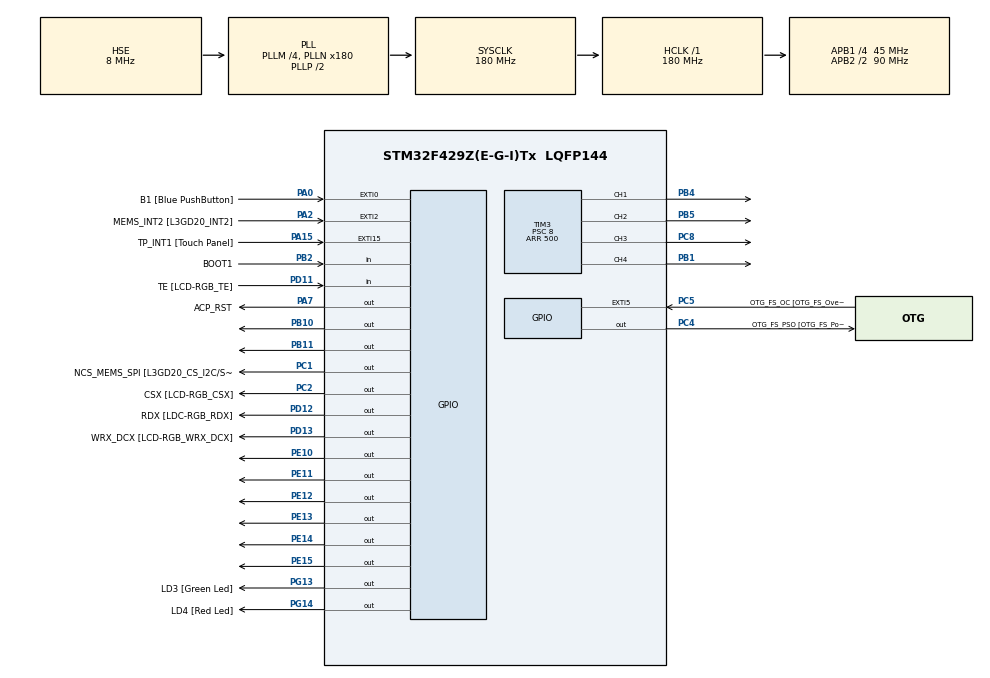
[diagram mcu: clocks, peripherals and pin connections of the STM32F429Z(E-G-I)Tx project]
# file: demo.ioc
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Mcu.Family=STM32F4
Mcu.Name=STM32F429Z(E-G-I)Tx
Mcu.Package=LQFP144
NVIC.PriorityGroup=NVIC_PRIORITYGROUP_0
PA0/WKUP.GPIO_Label=B1 [Blue PushButton]
PA0/WKUP.GPIO_ModeDefaultEXTI=GPIO_MODE_EVT_RISING
PA0/WKUP.GPIO_PuPd=GPIO_NOPULL
PA0/WKUP.Signal=GPXTI0
PA1.Signal=S_TIM2_CH2
PA10.GPIO_Label=STLINK_TX [STM32F103CBT6_PA2]
PA10.Signal=USART1_RX
PA11.GPIO_Label=R4
PA11.GPIO_Mode=GPIO_MODE_AF_PP
PA11.GPIO_PuPd=GPIO_NOPULL
PA11.GPIO_Speed=GPIO_SPEED_FREQ_LOW
PA11.Signal=LTDC_R4
PA12.GPIO_Label=R5
PA12.GPIO_Mode=GPIO_MODE_AF_PP
PA12.GPIO_PuPd=GPIO_NOPULL
PA12.GPIO_Speed=GPIO_SPEED_FREQ_LOW
PA12.Signal=LTDC_R5
PA13.GPIO_Label=SWDIO
PA13.Signal=SYS_JTMS-SWDIO
PA14.GPIO_Label=SWCLK
PA14.Signal=SYS_JTCK-SWCLK
PA15.GPIO_Label=TP_INT1 [Touch Panel]
PA15.GPIO_ModeDefaultEXTI=GPIO_MODE_EVT_RISING
PA15.GPIO_PuPd=GPIO_NOPULL
PA15.Signal=GPXTI15
PA2.GPIO_Label=MEMS_INT2 [L3GD20_INT2]
PA2.GPIO_ModeDefaultEXTI=GPIO_MODE_EVT_RISING
PA2.GPIO_PuPd=GPIO_NOPULL
PA2.Signal=GPXTI2
PA3.GPIO_Label=B5
PA3.GPIO_Mode=GPIO_MODE_AF_PP
PA3.GPIO_PuPd=GPIO_NOPULL
PA3.GPIO_Speed=GPIO_SPEED_FREQ_LOW
PA3.Signal=LTDC_B5
PA4.GPIO_Label=VSYNC
PA4.GPIO_Mode=GPIO_MODE_AF_PP
PA4.GPIO_PuPd=GPIO_NOPULL
PA4.GPIO_Speed=GPIO_SPEED_FREQ_LOW
PA4.Signal=LTDC_VSYNC
PA6.GPIO_Label=G2
PA6.GPIO_Mode=GPIO_MODE_AF_PP
PA6.GPIO_PuPd=GPIO_NOPULL
PA6.GPIO_Speed=GPIO_SPEED_FREQ_LOW
PA6.Signal=LTDC_G2
PA7.GPIO_Label=ACP_RST
PA7.GPIO_Mode=GPIO_MODE_OUTPUT_PP
PA7.GPIO_PuPd=GPIO_NOPULL
PA7.GPIO_Speed=GPIO_SPEED_FREQ_LOW
PA7.Signal=GPIO_Output
PA8.GPIO_Label=I2C3_SCL [ACP/RF_SCL]
PA8.GPIO_Mode=GPIO_MODE_AF_OD
PA8.GPIO_PuPd=GPIO_NOPULL
PA8.GPIO_Speed=GPIO_SPEED_FREQ_LOW
PA8.Signal=I2C3_SCL
PA9.GPIO_Label=STLINK_RX [STM32F103CBT6_PA3]
PA9.Signal=USART1_TX
PB0.GPIO_Label=R3
PB0.GPIO_Mode=GPIO_MODE_AF_PP
PB0.GPIO_PuPd=GPIO_NOPULL
PB0.GPIO_Speed=GPIO_SPEED_FREQ_LOW
PB0.Signal=LTDC_R3
PB1.Signal=S_TIM3_CH4
PB10.Signal=GPIO_Output
PB11.Signal=GPIO_Output
PB12.GPIO_Label=OTG_FS_ID
PB12.GPIO_Mode=GPIO_MODE_AF_PP
PB12.GPIO_PuPd=GPIO_NOPULL
PB12.GPIO_Speed=GPIO_SPEED_FREQ_LOW
PB12.Signal=USB_OTG_HS_ID
PB13.GPIO_Label=VBUS_FS
PB13.GPIO_Mode=GPIO_MODE_INPUT
PB13.GPIO_PuPd=GPIO_NOPULL
PB13.Signal=USB_OTG_HS_VBUS
PB14.GPIO_Label=OTG_FS_DM
PB14.GPIO_Mode=GPIO_MODE_AF_PP
PB14.GPIO_PuPd=GPIO_NOPULL
PB14.GPIO_Speed=GPIO_SPEED_FREQ_LOW
PB14.Signal=USB_OTG_HS_DM
PB15.GPIO_Label=OTG_FS_DP
PB15.GPIO_Mode=GPIO_MODE_AF_PP
PB15.GPIO_PuPd=GPIO_NOPULL
PB15.GPIO_Speed=GPIO_SPEED_FREQ_LOW
PB15.Signal=USB_OTG_HS_DP
PB2/BOOT1.GPIO_Label=BOOT1
PB2/BOOT1.GPIO_Mode=GPIO_MODE_INPUT
PB2/BOOT1.GPIO_PuPd=GPIO_NOPULL
PB2/BOOT1.Signal=GPIO_Input
PB3.Signal=SPI1_SCK
PB4.Signal=S_TIM3_CH1
PB5.Signal=S_TIM3_CH2
PB6.GPIO_Label=SDNE1 [SDRAM_CS]
PB6.GPIO_Mode=GPIO_MODE_AF_PP
PB6.GPIO_PuPd=GPIO_NOPULL
PB6.GPIO_Speed=GPIO_SPEED_FREQ_VERY_HIGH
PB6.Signal=FMC_SDNE1
PB9.GPIO_Label=B7
PB9.GPIO_Mode=GPIO_MODE_AF_PP
PB9.GPIO_PuPd=GPIO_NOPULL
PB9.GPIO_Speed=GPIO_SPEED_FREQ_LOW
PB9.Signal=LTDC_B7
PC0.GPIO_Label=SDNWE
PC0.GPIO_Mode=GPIO_MODE_AF_PP
PC0.GPIO_PuPd=GPIO_NOPULL
PC0.GPIO_Speed=GPIO_SPEED_FREQ_VERY_HIGH
PC0.Signal=FMC_SDNWE
PC1.GPIO_Label=NCS_MEMS_SPI [L3GD20_CS_I2C/SPI]
PC1.GPIO_Mode=GPIO_MODE_OUTPUT_PP
PC1.GPIO_PuPd=GPIO_NOPULL
PC1.GPIO_Speed=GPIO_SPEED_FREQ_LOW
PC1.Signal=GPIO_Output
PC10.GPIO_Label=R2
PC10.GPIO_Mode=GPIO_MODE_AF_PP
PC10.GPIO_PuPd=GPIO_NOPULL
PC10.GPIO_Speed=GPIO_SPEED_FREQ_LOW
PC10.Signal=LTDC_R2
PC14/OSC32_IN.GPIO_Label=PC14-OSC32_IN
PC14/OSC32_IN.Signal=RCC_OSC32_IN
PC15/OSC32_OUT.GPIO_Label=PC15-OSC32_OUT
PC15/OSC32_OUT.Signal=RCC_OSC32_OUT
PC2.GPIO_Label=CSX [LCD-RGB_CSX]
PC2.GPIO_Mode=GPIO_MODE_OUTPUT_PP
PC2.GPIO_PuPd=GPIO_NOPULL
PC2.GPIO_Speed=GPIO_SPEED_FREQ_LOW
PC2.Signal=GPIO_Output
PC4.GPIO_Label=OTG_FS_PSO [OTG_FS_PowerSwitchOn]
PC4.GPIO_Mode=GPIO_MODE_OUTPUT_PP
PC4.GPIO_PuPd=GPIO_NOPULL
PC4.GPIO_Speed=GPIO_SPEED_FREQ_LOW
PC4.Signal=GPIO_Output
PC5.GPIO_Label=OTG_FS_OC [OTG_FS_OverCurrent]
PC5.GPIO_ModeDefaultEXTI=GPIO_MODE_EVT_RISING
PC5.Signal=GPXTI5
PC6.GPIO_Label=HSYNC
PC6.GPIO_Mode=GPIO_MODE_AF_PP
PC6.GPIO_PuPd=GPIO_NOPULL
PC6.GPIO_Speed=GPIO_SPEED_FREQ_LOW
PC6.Signal=LTDC_HSYNC
PC7.GPIO_Label=G6
PC7.GPIO_Mode=GPIO_MODE_AF_PP
PC7.GPIO_PuPd=GPIO_NOPULL
PC7.GPIO_Speed=GPIO_SPEED_FREQ_LOW
PC7.Signal=LTDC_G6
PC8.Signal=S_TIM3_CH3
PC9.Signal=EVENTOUT
PD0.GPIO_Label=D2
PD0.GPIO_Mode=GPIO_MODE_AF_PP
PD0.GPIO_PuPd=GPIO_NOPULL
PD0.GPIO_Speed=GPIO_SPEED_FREQ_VERY_HIGH
PD0.Signal=FMC_D2_DA2
PD1.GPIO_Label=D3
PD1.GPIO_Mode=GPIO_MODE_AF_PP
PD1.GPIO_PuPd=GPIO_NOPULL
PD1.GPIO_Speed=GPIO_SPEED_FREQ_VERY_HIGH
PD1.Signal=FMC_D3_DA3
PD10.GPIO_Label=D15
PD10.GPIO_Mode=GPIO_MODE_AF_PP
PD10.GPIO_PuPd=GPIO_NOPULL
PD10.GPIO_Speed=GPIO_SPEED_FREQ_VERY_HIGH
PD10.Signal=FMC_D15_DA15
PD11.GPIO_Label=TE [LCD-RGB_TE]
PD11.GPIO_Mode=GPIO_MODE_INPUT
PD11.GPIO_PuPd=GPIO_NOPULL
PD11.Signal=GPIO_Input
PD12.GPIO_Label=RDX [LDC-RGB_RDX]
PD12.GPIO_Mode=GPIO_MODE_OUTPUT_PP
PD12.GPIO_PuPd=GPIO_NOPULL
PD12.GPIO_Speed=GPIO_SPEED_FREQ_LOW
PD12.Signal=GPIO_Output
PD13.GPIO_Label=WRX_DCX [LCD-RGB_WRX_DCX]
PD13.GPIO_Mode=GPIO_MODE_OUTPUT_PP
PD13.GPIO_PuPd=GPIO_NOPULL
PD13.GPIO_Speed=GPIO_SPEED_FREQ_LOW
PD13.Signal=GPIO_Output
PD14.GPIO_Label=D0
PD14.GPIO_Mode=GPIO_MODE_AF_PP
PD14.GPIO_PuPd=GPIO_NOPULL
PD14.GPIO_Speed=GPIO_SPEED_FREQ_VERY_HIGH
PD14.Signal=FMC_D0_DA0
PD15.GPIO_Label=D1
PD15.GPIO_Mode=GPIO_MODE_AF_PP
PD15.GPIO_PuPd=GPIO_NOPULL
PD15.GPIO_Speed=GPIO_SPEED_FREQ_VERY_HIGH
PD15.Signal=FMC_D1_DA1
PD3.GPIO_Label=G7
PD3.GPIO_Mode=GPIO_MODE_AF_PP
PD3.GPIO_PuPd=GPIO_NOPULL
PD3.GPIO_Speed=GPIO_SPEED_FREQ_LOW
PD3.Signal=LTDC_G7
PD6.GPIO_Label=B2
PD6.GPIO_Mode=GPIO_MODE_AF_PP
PD6.GPIO_PuPd=GPIO_NOPULL
PD6.GPIO_Speed=GPIO_SPEED_FREQ_LOW
PD6.Signal=LTDC_B2
PD9.GPIO_Label=D14
PD9.GPIO_Mode=GPIO_MODE_AF_PP
PD9.GPIO_PuPd=GPIO_NOPULL
PD9.GPIO_Speed=GPIO_SPEED_FREQ_VERY_HIGH
PD9.Signal=FMC_D14_DA14
PE0.GPIO_Label=NBL0 [SDRAM_LDQM]
PE0.GPIO_Mode=GPIO_MODE_AF_PP
PE0.GPIO_PuPd=GPIO_NOPULL
PE0.GPIO_Speed=GPIO_SPEED_FREQ_VERY_HIGH
PE0.Signal=FMC_NBL0
PE1.GPIO_Label=NBL1 [SDRAM_UDQM]
PE1.GPIO_Mode=GPIO_MODE_AF_PP
PE1.GPIO_PuPd=GPIO_NOPULL
PE1.GPIO_Speed=GPIO_SPEED_FREQ_VERY_HIGH
PE1.Signal=FMC_NBL1
PE10.Signal=GPIO_Output
PE11.Signal=GPIO_Output
PE12.Signal=GPIO_Output
PE13.Signal=GPIO_Output
PE14.Signal=GPIO_Output
PE15.Signal=GPIO_Output
PE7.GPIO_Label=D4
PE7.GPIO_Mode=GPIO_MODE_AF_PP
PE7.GPIO_PuPd=GPIO_NOPULL
PE7.GPIO_Speed=GPIO_SPEED_FREQ_VERY_HIGH
PE7.Signal=FMC_D4_DA4
PE8.GPIO_Label=D5
PE8.GPIO_Mode=GPIO_MODE_AF_PP
PE8.GPIO_PuPd=GPIO_NOPULL
PE8.GPIO_Speed=GPIO_SPEED_FREQ_VERY_HIGH
PE8.Signal=FMC_D5_DA5
PE9.GPIO_Label=D6
PE9.GPIO_Mode=GPIO_MODE_AF_PP
PE9.GPIO_PuPd=GPIO_NOPULL
PE9.GPIO_Speed=GPIO_SPEED_FREQ_VERY_HIGH
PE9.Signal=FMC_D6_DA6
PF0.GPIO_Label=A0
PF0.GPIO_Mode=GPIO_MODE_AF_PP
PF0.GPIO_PuPd=GPIO_NOPULL
PF0.GPIO_Speed=GPIO_SPEED_FREQ_VERY_HIGH
PF0.Signal=FMC_A0
PF1.GPIO_Label=A1
PF1.GPIO_Mode=GPIO_MODE_AF_PP
PF1.GPIO_PuPd=GPIO_NOPULL
PF1.GPIO_Speed=GPIO_SPEED_FREQ_VERY_HIGH
PF1.Signal=FMC_A1
PF10.GPIO_Label=ENABLE [LCD-RGB_ENABLE]
PF10.GPIO_Mode=GPIO_MODE_AF_PP
PF10.GPIO_PuPd=GPIO_NOPULL
PF10.GPIO_Speed=GPIO_SPEED_FREQ_LOW
PF10.Signal=LTDC_DE
PF11.GPIO_Label=SDNRAS
PF11.GPIO_Mode=GPIO_MODE_AF_PP
PF11.GPIO_PuPd=GPIO_NOPULL
PF11.GPIO_Speed=GPIO_SPEED_FREQ_VERY_HIGH
PF11.Signal=FMC_SDNRAS
PF12.GPIO_Label=A6
PF12.GPIO_Mode=GPIO_MODE_AF_PP
PF12.GPIO_PuPd=GPIO_NOPULL
PF12.GPIO_Speed=GPIO_SPEED_FREQ_VERY_HIGH
PF12.Signal=FMC_A6
PF13.GPIO_Label=A7
PF13.GPIO_Mode=GPIO_MODE_AF_PP
PF13.GPIO_PuPd=GPIO_NOPULL
PF13.GPIO_Speed=GPIO_SPEED_FREQ_VERY_HIGH
PF13.Signal=FMC_A7
PF14.GPIO_Label=A8
PF14.GPIO_Mode=GPIO_MODE_AF_PP
PF14.GPIO_PuPd=GPIO_NOPULL
PF14.GPIO_Speed=GPIO_SPEED_FREQ_VERY_HIGH
PF14.Signal=FMC_A8
PF15.GPIO_Label=A9
PF15.GPIO_Mode=GPIO_MODE_AF_PP
PF15.GPIO_PuPd=GPIO_NOPULL
PF15.GPIO_Speed=GPIO_SPEED_FREQ_VERY_HIGH
PF15.Signal=FMC_A9
PF2.GPIO_Label=A2
PF2.GPIO_Mode=GPIO_MODE_AF_PP
PF2.GPIO_PuPd=GPIO_NOPULL
PF2.GPIO_Speed=GPIO_SPEED_FREQ_VERY_HIGH
PF2.Signal=FMC_A2
PF3.GPIO_Label=A3
PF3.GPIO_Mode=GPIO_MODE_AF_PP
PF3.GPIO_PuPd=GPIO_NOPULL
PF3.GPIO_Speed=GPIO_SPEED_FREQ_VERY_HIGH
PF3.Signal=FMC_A3
PF4.GPIO_Label=A4
PF4.GPIO_Mode=GPIO_MODE_AF_PP
PF4.GPIO_PuPd=GPIO_NOPULL
PF4.GPIO_Speed=GPIO_SPEED_FREQ_VERY_HIGH
PF4.Signal=FMC_A4
PF5.GPIO_Label=A5
PF5.GPIO_Mode=GPIO_MODE_AF_PP
PF5.GPIO_PuPd=GPIO_NOPULL
PF5.GPIO_Speed=GPIO_SPEED_FREQ_VERY_HIGH
PF5.Signal=FMC_A5
PF7.GPIO_Label=SPI5_SCK [L3GD20_SCL/SPC]
PF7.GPIO_Mode=GPIO_MODE_AF_PP
PF7.GPIO_PuPd=GPIO_NOPULL
PF7.GPIO_Speed=GPIO_SPEED_FREQ_LOW
PF7.Signal=SPI5_SCK
PF8.GPIO_Label=SPI5_MISO [L3GD20_SDO]
PF8.GPIO_Mode=GPIO_MODE_AF_PP
PF8.GPIO_PuPd=GPIO_NOPULL
PF8.GPIO_Speed=GPIO_SPEED_FREQ_LOW
PF8.Signal=SPI5_MISO
PF9.GPIO_Label=SPI5_MOSI [L3GD20_SDA/SDI/SDO]
PF9.GPIO_Mode=GPIO_MODE_AF_PP
PF9.GPIO_PuPd=GPIO_NOPULL
PF9.GPIO_Speed=GPIO_SPEED_FREQ_LOW
PF9.Signal=SPI5_MOSI
PG0.GPIO_Label=A10
PG0.GPIO_Mode=GPIO_MODE_AF_PP
PG0.GPIO_PuPd=GPIO_NOPULL
PG0.GPIO_Speed=GPIO_SPEED_FREQ_VERY_HIGH
PG0.Signal=FMC_A10
PG1.GPIO_Label=A11
PG1.GPIO_Mode=GPIO_MODE_AF_PP
PG1.GPIO_PuPd=GPIO_NOPULL
PG1.GPIO_Speed=GPIO_SPEED_FREQ_VERY_HIGH
PG1.Signal=FMC_A11
PG10.GPIO_Label=G3
PG10.GPIO_Mode=GPIO_MODE_AF_PP
PG10.GPIO_PuPd=GPIO_NOPULL
PG10.GPIO_Speed=GPIO_SPEED_FREQ_LOW
PG10.Signal=LTDC_G3
PG11.GPIO_Label=B3
PG11.GPIO_Mode=GPIO_MODE_AF_PP
PG11.GPIO_PuPd=GPIO_NOPULL
PG11.GPIO_Speed=GPIO_SPEED_FREQ_LOW
PG11.Signal=LTDC_B3
PG12.GPIO_Label=B4
PG12.GPIO_Mode=GPIO_MODE_AF_PP
PG12.GPIO_PuPd=GPIO_NOPULL
PG12.GPIO_Speed=GPIO_SPEED_FREQ_LOW
PG12.Signal=LTDC_B4
PG13.GPIO_Label=LD3 [Green Led]
PG13.GPIO_Mode=GPIO_MODE_OUTPUT_PP
PG13.GPIO_PuPd=GPIO_NOPULL
PG13.GPIO_Speed=GPIO_SPEED_FREQ_LOW
PG13.Signal=GPIO_Output
PG14.GPIO_Label=LD4 [Red Led]
PG14.GPIO_Mode=GPIO_MODE_OUTPUT_PP
PG14.GPIO_PuPd=GPIO_NOPULL
PG14.GPIO_Speed=GPIO_SPEED_FREQ_LOW
PG14.Signal=GPIO_Output
PG15.GPIO_Label=SDNCAS
PG15.GPIO_Mode=GPIO_MODE_AF_PP
PG15.GPIO_PuPd=GPIO_NOPULL
PG15.GPIO_Speed=GPIO_SPEED_FREQ_VERY_HIGH
PG15.Signal=FMC_SDNCAS
PG4.GPIO_Label=BA0
PG4.GPIO_Mode=GPIO_MODE_AF_PP
PG4.GPIO_PuPd=GPIO_NOPULL
PG4.GPIO_Speed=GPIO_SPEED_FREQ_VERY_HIGH
PG4.Signal=FMC_A14_BA0
PG5.GPIO_Label=BA1
PG5.GPIO_Mode=GPIO_MODE_AF_PP
PG5.GPIO_PuPd=GPIO_NOPULL
PG5.GPIO_Speed=GPIO_SPEED_FREQ_VERY_HIGH
PG5.Signal=FMC_A15_BA1
PG6.GPIO_Label=R7
PG6.GPIO_Mode=GPIO_MODE_AF_PP
PG6.GPIO_PuPd=GPIO_NOPULL
PG6.GPIO_Speed=GPIO_SPEED_FREQ_LOW
PG6.Signal=LTDC_R7
PG7.GPIO_Label=DOTCLK [LCT-RGB_DOTCLK]
PG7.GPIO_Mode=GPIO_MODE_AF_PP
PG7.GPIO_PuPd=GPIO_NOPULL
PG7.GPIO_Speed=GPIO_SPEED_FREQ_LOW
PG7.Signal=LTDC_CLK
PG8.GPIO_Label=SDCLK
PG8.GPIO_Mode=GPIO_MODE_AF_PP
PG8.GPIO_PuPd=GPIO_NOPULL
PG8.GPIO_Speed=GPIO_SPEED_FREQ_VERY_HIGH
PG8.Signal=FMC_SDCLK
PH0/OSC_IN.GPIO_Label=PH0-OSC_IN
PH0/OSC_IN.Mode=HSE-External-Oscillator
PH0/OSC_IN.Signal=RCC_OSC_IN
PH1/OSC_OUT.GPIO_Label=PH1-OSC_OUT
PH1/OSC_OUT.Mode=HSE-External-Oscillator
PH1/OSC_OUT.Signal=RCC_OSC_OUT
ProjectManager.HeapSize=0x200
ProjectManager.StackSize=0x400
ProjectManager.TargetToolchain=SW4STM32
RCC.48MHZClocksFreq_Value=51428571.428571425
RCC.AHBFreq_Value=180000000
RCC.APB1CLKDivider=RCC_HCLK_DIV4
RCC.APB1Freq_Value=45000000
RCC.APB1TimFreq_Value=90000000
RCC.APB2CLKDivider=RCC_HCLK_DIV2
RCC.APB2Freq_Value=90000000
RCC.APB2TimFreq_Value=180000000
RCC.CortexFreq_Value=180000000
RCC.HCLKFreq_Value=180000000
RCC.HSE_VALUE=8000000
RCC.HSI_VALUE=16000000
RCC.LSE_VALUE=32768
RCC.PLLM=4
RCC.PLLN=180
RCC.PLLQ=7
RCC.PLLSourceVirtual=RCC_PLLSOURCE_HSE
RCC.SYSCLKFreq_VALUE=180000000
RCC.SYSCLKSource=RCC_SYSCLKSOURCE_PLLCLK
RCC.VCOOutputFreq_Value=360000000
SH.FMC_A0.0=FMC_A0
SH.FMC_A1.0=FMC_A1
SH.FMC_A10.0=FMC_A10
SH.FMC_A11.0=FMC_A11
SH.FMC_A14_BA0.0=FMC_BA0
SH.FMC_A15_BA1.0=FMC_BA1
SH.FMC_A2.0=FMC_A2
SH.FMC_A3.0=FMC_A3
SH.FMC_A4.0=FMC_A4
SH.FMC_A5.0=FMC_A5
SH.FMC_A6.0=FMC_A6
SH.FMC_A7.0=FMC_A7
SH.FMC_A8.0=FMC_A8
SH.FMC_A9.0=FMC_A9
SH.FMC_D0_DA0.0=FMC_D0
SH.FMC_D14_DA14.0=FMC_D14
SH.FMC_D15_DA15.0=FMC_D15
SH.FMC_D1_DA1.0=FMC_D1
SH.FMC_D2_DA2.0=FMC_D2
SH.FMC_D3_DA3.0=FMC_D3
SH.FMC_D4_DA4.0=FMC_D4
SH.FMC_D5_DA5.0=FMC_D5
SH.FMC_D6_DA6.0=FMC_D6
SH.FMC_NBL0.0=FMC_NBL0
SH.FMC_NBL1.0=FMC_NBL1
SH.FMC_SDCLK.0=FMC_SDCLK
SH.FMC_SDNCAS.0=FMC_SDNCAS
SH.FMC_SDNRAS.0=FMC_SDNRAS
SH.FMC_SDNWE.0=FMC_SDNWE
SH.S_TIM2_CH2.0=TIM2_CH2
SH.S_TIM3_CH1.0=TIM3_CH1,PWM Generation1 CH1
SH.S_TIM3_CH2.0=TIM3_CH2,PWM Generation2 CH2
SH.S_TIM3_CH3.0=TIM3_CH3,PWM Generation3 CH3
SH.S_TIM3_CH4.0=TIM3_CH4,PWM Generation4 CH4
TIM3.Channel-PWM\ Generation2\ CH2=TIM_CHANNEL_2
TIM3.Channel-PWM\ Generation3\ CH3=TIM_CHANNEL_3
TIM3.Channel-PWM\ Generation4\ CH4=TIM_CHANNEL_4
TIM3.Period=500
TIM3.Prescaler=8
TIM3.Pulse-PWM\ Generation1\ CH1=250
TIM3.Pulse-PWM\ Generation2\ CH2=250
TIM3.Pulse-PWM\ Generation3\ CH3=250
VP_TIM3_VS_ClockSourceINT.Mode=Internal
board=STM32F429I-DISC1

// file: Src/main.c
/**
  ******************************************************************************
  * File Name          : main.c
  * Description        : Main program body
  ******************************************************************************
  *
  * COPYRIGHT(c) 2018 STMicroelectronics
  *
  * Redistribution and use in source and binary forms, with or without modification,
  * are permitted provided that the following conditions are met:
  *   1. Redistributions of source code must retain the above copyright notice,
  *      this list of conditions and the following disclaimer.
  *   2. Redistributions in binary form must reproduce the above copyright notice,
  *      this list of conditions and the following disclaimer in the documentation
  *      and/or other materials provided with the distribution.
  *   3. Neither the name of STMicroelectronics nor the names of its contributors
  *      may be used to endorse or promote products derived from this software
  *      without specific prior written permission.
  *
  * THIS SOFTWARE IS PROVIDED BY THE COPYRIGHT HOLDERS AND CONTRIBUTORS "AS IS"
  * AND ANY EXPRESS OR IMPLIED WARRANTIES, INCLUDING, BUT NOT LIMITED TO, THE
  * IMPLIED WARRANTIES OF MERCHANTABILITY AND FITNESS FOR A PARTICULAR PURPOSE ARE
  * DISCLAIMED. IN NO EVENT SHALL THE COPYRIGHT HOLDER OR CONTRIBUTORS BE LIABLE
  * FOR ANY DIRECT, INDIRECT, INCIDENTAL, SPECIAL, EXEMPLARY, OR CONSEQUENTIAL
  * DAMAGES (INCLUDING, BUT NOT LIMITED TO, PROCUREMENT OF SUBSTITUTE GOODS OR
  * SERVICES; LOSS OF USE, DATA, OR PROFITS; OR BUSINESS INTERRUPTION) HOWEVER
  * CAUSED AND ON ANY THEORY OF LIABILITY, WHETHER IN CONTRACT, STRICT LIABILITY,
  * OR TORT (INCLUDING NEGLIGENCE OR OTHERWISE) ARISING IN ANY WAY OUT OF THE USE
  * OF THIS SOFTWARE, EVEN IF ADVISED OF THE POSSIBILITY OF SUCH DAMAGE.
  *
  ******************************************************************************
  */
#include "main.h"
#include "stm32f4xx_hal.h"
#include "tim.h"
#include "gpio.h"

/* USER CODE BEGIN PV */
/* Private variables ---------------------------------------------------------*/

/* USER CODE END PV */

void SystemClock_Config(void);
void Error_Handler(void);

/* USER CODE BEGIN PFP */
/* Private function prototypes -----------------------------------------------*/

/* USER CODE END PFP */

/* USER CODE BEGIN 0 */
#define INIT_DC 0

/* USER CODE END 0 */

int main(void)
{

  /* USER CODE BEGIN 1 */
	DRIVE_DIRECTION = DIR_NONE;

	uint8_t speed = 0;
	uint8_t direction = 0;
  /* USER CODE END 1 */

  /* MCU Configuration----------------------------------------------------------*/

  /* Reset of all peripherals, Initializes the Flash interface and the Systick. */
  HAL_Init();

  /* Configure the system clock */
  SystemClock_Config();

  /* Initialize all configured peripherals */
  MX_GPIO_Init();
  MX_TIM3_Init();

  /* USER CODE BEGIN 2 */
  HAL_TIM_Base_Start(&htim3);
  HAL_GPIO_WritePin(GPIOG, GPIO_PIN_14, GPIO_PIN_SET);
  /* USER CODE END 2 */

  /* Infinite loop */
  while (1)
  {

  /* USER CODE BEGIN 3 */

	  if(direction == 0)
	  {
		  drive_forward(speed);
	  }
	  else
	  {
		  drive_backward(speed);
	  }
	  HAL_Delay(150);

	  speed ++;
	  if(speed > 100)
	  {
		  HAL_Delay(3000);
		  speed = 0;
		  drive_stop();
		  HAL_Delay(3000);
		  HAL_GPIO_TogglePin(GPIOG, GPIO_PIN_13);
		  HAL_GPIO_TogglePin(GPIOG, GPIO_PIN_14);
		  if(direction == 0)
		  {
			  direction = 1;
		  }
		  else
		  {
			  direction = 0;
		  }
	  }
  }
  /* USER CODE END 3 */

}

/** System Clock Configuration
*/
void SystemClock_Config(void)
{

  RCC_OscInitTypeDef RCC_OscInitStruct;
  RCC_ClkInitTypeDef RCC_ClkInitStruct;

    /**Configure the main internal regulator output voltage
    */
  __HAL_RCC_PWR_CLK_ENABLE();

  __HAL_PWR_VOLTAGESCALING_CONFIG(PWR_REGULATOR_VOLTAGE_SCALE1);

    /**Initializes the CPU, AHB and APB busses clocks
    */
  RCC_OscInitStruct.OscillatorType = RCC_OSCILLATORTYPE_HSE;
  RCC_OscInitStruct.HSEState = RCC_HSE_ON;
  RCC_OscInitStruct.PLL.PLLState = RCC_PLL_ON;
  RCC_OscInitStruct.PLL.PLLSource = RCC_PLLSOURCE_HSE;
  RCC_OscInitStruct.PLL.PLLM = 4;
  RCC_OscInitStruct.PLL.PLLN = 180;
  RCC_OscInitStruct.PLL.PLLP = RCC_PLLP_DIV2;
  RCC_OscInitStruct.PLL.PLLQ = 7;
  if (HAL_RCC_OscConfig(&RCC_OscInitStruct) != HAL_OK)
  {
    Error_Handler();
  }

    /**Activate the Over-Drive mode
    */
  if (HAL_PWREx_EnableOverDrive() != HAL_OK)
  {
    Error_Handler();
  }

    /**Initializes the CPU, AHB and APB busses clocks
    */
  RCC_ClkInitStruct.ClockType = RCC_CLOCKTYPE_HCLK|RCC_CLOCKTYPE_SYSCLK
                              |RCC_CLOCKTYPE_PCLK1|RCC_CLOCKTYPE_PCLK2;
  RCC_ClkInitStruct.SYSCLKSource = RCC_SYSCLKSOURCE_PLLCLK;
  RCC_ClkInitStruct.AHBCLKDivider = RCC_SYSCLK_DIV1;
  RCC_ClkInitStruct.APB1CLKDivider = RCC_HCLK_DIV4;
  RCC_ClkInitStruct.APB2CLKDivider = RCC_HCLK_DIV2;

  if (HAL_RCC_ClockConfig(&RCC_ClkInitStruct, FLASH_LATENCY_5) != HAL_OK)
  {
    Error_Handler();
  }

    /**Configure the Systick interrupt time
    */
  HAL_SYSTICK_Config(HAL_RCC_GetHCLKFreq()/1000);

    /**Configure the Systick
    */
  HAL_SYSTICK_CLKSourceConfig(SYSTICK_CLKSOURCE_HCLK);

  /* SysTick_IRQn interrupt configuration */
  HAL_NVIC_SetPriority(SysTick_IRQn, 0, 0);
}

void Error_Handler(void)
{
  while(1)
  {
  }
}

/************************ (C) COPYRIGHT STMicroelectronics *****END OF FILE****/
